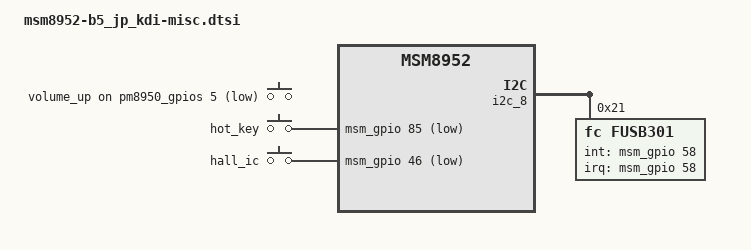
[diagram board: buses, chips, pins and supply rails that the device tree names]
/*
 * Copyright (c) 2015, The Linux Foundation. All rights reserved.
 *
 * This program is free software; you can redistribute it and/or modify
 * it under the terms of the GNU General Public License version 2 and
 * only version 2 as published by the Free Software Foundation.
 *
 * This program is distributed in the hope that it will be useful,
 * but WITHOUT ANY WARRANTY; without even the implied warranty of
 * MERCHANTABILITY or FITNESS FOR A PARTICULAR PURPOSE.  See the
 * GNU General Public License for more details.
 */

&soc {
	gpio_keys {
		compatible = "gpio-keys";
		input-name = "gpio-keys";
		pinctrl-names = "tlmm_gpio_key_active","tlmm_gpio_key_suspend";
		pinctrl-0 = <&gpio_key_active>;
		pinctrl-1 = <&gpio_key_suspend>;

		vol_up {
			label = "volume_up";
			gpios = <&pm8950_gpios 5 0x1>;
			linux,input-type = <1>;
			linux,code = <115>;
			gpio-key,wakeup;
			debounce-interval = <15>;
		};

		hot_key {
			label = "hot_key";
			gpios = <&msm_gpio 85 0x1>;
			linux,input-type = <1>;
			linux,code = <377>;
			gpio-key,wakeup;
			debounce-interval = <160>;
		};

		hall_ic {
			label = "hall_ic";
			gpios = <&msm_gpio 46 0x1>;
			linux,input-type = <5>;
			linux,code = <0>;
			gpio-key,wakeup;
			debounce-interval = <15>;
		};


	};
};

&i2c_8 {
	fusb301@21 {
		status = "ok";
		compatible = "fc,fusb301";
		reg = <0x21>;
		interrupt-parent = <&msm_gpio>;
		interrupts = <58 0x2>;
		fusb301,int-gpio = <&msm_gpio 58 0>; /* CC_CTRL_INT_N */
		fusb301,init-mode = /bits/ 8 <32>;
		fusb301,drp-toggle-time = /bits/ 8 <0>;
		fusb301,host-current = /bits/ 8 <1>;
		fusb301,use-try-snk-emulation;
		fusb301,ttry-timer-value = <250 600>;
		fusb301,ccdebounce-timer-value = <20 200>;

	};
};
